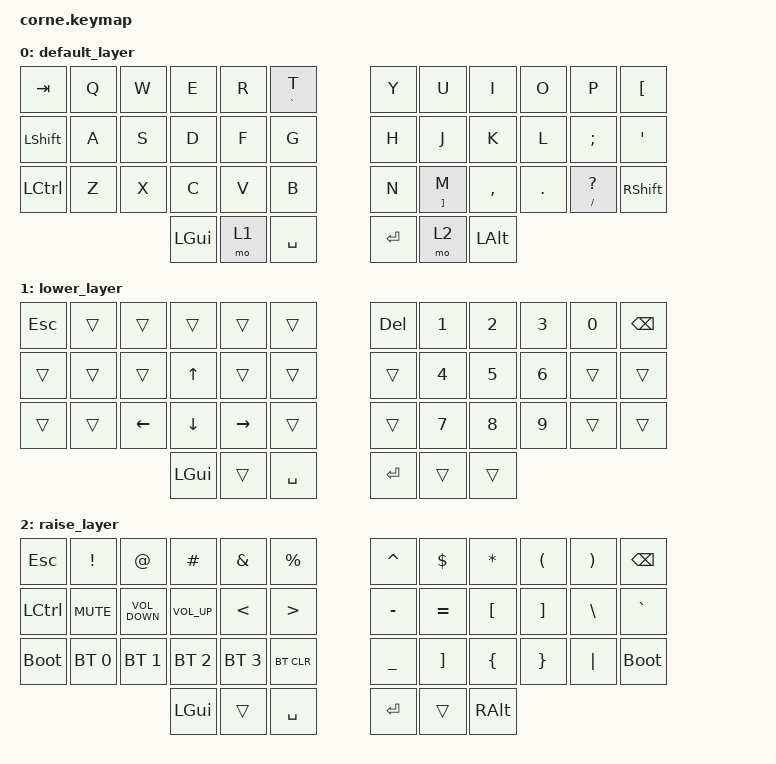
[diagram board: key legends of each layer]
/*
 * Copyright (c) 2020 The ZMK Contributors
 *
 * SPDX-License-Identifier: MIT
 */

#include <behaviors.dtsi>
#include <dt-bindings/zmk/bt.h>
#include <dt-bindings/zmk/keys.h>

/ {
    combos {
        compatible = "zmk,combos";

        Escape {
            bindings = <&kp ESC>;
            key-positions = <0 11>;
        };

        OpenParenthesis {
            bindings = <&kp LEFT_PARENTHESIS>;
            key-positions = <14 13>;
        };

        CloseParenthasis {
            bindings = <&kp RIGHT_PARENTHESIS>;
            key-positions = <21 22>;
        };

        Bckspc {
            bindings = <&kp BACKSPACE>;
            key-positions = <8 7>;
        };

        Delete {
            bindings = <&kp DELETE>;
            key-positions = <4 5>;
        };

        Enter {
            bindings = <&kp ENTER>;
            key-positions = <38 39>;
        };

        Backspace {
            bindings = <&kp BACKSPACE>;
            key-positions = <10 11>;
        };

        Escape2 {
            bindings = <&kp ESCAPE>;
            key-positions = <0 1>;
        };

        Backspace_ {
            bindings = <&kp BACKSPACE>;
            key-positions = <6 7>;
        };

        Dvoetochie {
            bindings = <&kp LS(NUMBER_6)>;
            key-positions = <2 3>;
        };

        CtrlC {
            bindings = <&kp LC(C)>;
            key-positions = <15 16>;
        };

        CtrlV {
            bindings = <&kp LC(V)>;
            key-positions = <19 20>;
        };

        Vstavka {
            bindings = <&kp LC(V)>;
            key-positions = <15 14>;
        };

        Delite {
            bindings = <&kp DELETE>;
            key-positions = <4 3>;
        };

        Question {
            bindings = <&kp LS(NUMBER_7)>;
            key-positions = <8 9>;
        };
    };

    keymap {
        compatible = "zmk,keymap";

        default_layer {
            // -----------------------------------------------------------------------------------------
            // |  TAB |  Q  |  W  |  E  |  R  |  T  |   |  Y  |  U   |  I  |  O  |  P  | BSPC |
            // | SHFT |  A  |  S  |  D  |  F  |  G  |   |  H  |  J   |  K  |  L  |  ;  | ENTR |
            // | CTRL |  Z  |  X  |  C  |  V  |  B  |   |  N  |  M   | ./, | '/" |  /* | EQU |
            //                    | GUI | LWR | SPC |   | SPC | L2   | L1  |

            bindings = <
&kp TAB         &kp Q  &kp W  &kp E         &kp R  &mt GRAVE T    &kp Y      &kp U                &kp I         &kp O       &kp P               &kp LEFT_BRACKET
&kp LEFT_SHIFT  &kp A  &kp S  &kp D         &kp F  &kp G          &kp H      &kp J                &kp K         &kp L       &kp SEMI            &kp SQT
&kp LCTRL       &kp Z  &kp X  &kp C         &kp V  &kp B          &kp N      &mt RIGHT_BRACKET M  &kp COMMA     &kp PERIOD  &mt SLASH QUESTION  &kp RIGHT_SHIFT
                              &kp LEFT_GUI  &mo 1  &kp SPACE      &kp ENTER  &mo 2                &kp LEFT_ALT
            >;
        };

        lower_layer {
            // -----------------------------------------------------------------------------------------
            // | SYSR |     |     |     |     |     |   |     |  1  |  2  |  3  |  0  |      |
            // |      |     |     | UP  |     |     |   |     |  4  |  5  |  6  |     |      |
            // |      |     | LFT | DWN | RGT |     |   |     |  7  |  8  |  9  |     |      |
            //                    |     |     | SPC |   | SPC |     |     |

            bindings = <
&kp ESCAPE  &trans  &trans    &trans        &trans     &trans       &kp DELETE  &kp NUMBER_1  &kp NUMBER_2  &kp NUMBER_3  &kp N0  &kp BACKSPACE
&trans      &trans  &trans    &kp UP        &trans     &trans       &trans      &kp NUMBER_4  &kp NUMBER_5  &kp NUMBER_6  &trans  &trans
&trans      &trans  &kp LEFT  &kp DOWN      &kp RIGHT  &trans       &trans      &kp NUMBER_7  &kp NUMBER_8  &kp NUMBER_9  &trans  &trans
                              &kp LEFT_GUI  &trans     &kp SPACE    &kp ENTER   &trans        &trans
            >;
        };

        raise_layer {
            // -----------------------------------------------------------------------------------------
            // |  TAB |  !  |  @  |  #  |  &  |  %  |   |  ^  |  $  |  *  |  (  |  )  | BSPC |
            // | CTRL |MUTE |V_UP |V_DWN|  <  |  >  |   |  -  |  =  |  [  |  ]  |  \  |  `   |
            // | SHFT |     |     |     |     |     |   |  _  |  +  |  {  |  }  | "|" |  ~   |
            //                    | GUI |     | SPC |   | SPC |     | ALT |

            bindings = <
&kp ESCAPE   &kp EXCL      &kp AT             &kp HASH         &kp AMPERSAND  &kp PRCNT           &kp CARET  &kp DOLLAR         &kp ASTRK  &kp LPAR  &kp RPAR  &kp BACKSPACE
&kp LCTRL    &kp C_MUTE    &kp C_VOLUME_DOWN  &kp C_VOLUME_UP  &kp LESS_THAN  &kp GREATER_THAN    &kp MINUS  &kp EQUAL          &kp LBKT   &kp RBKT  &kp BSLH  &kp GRAVE
&bootloader  &bt BT_SEL 0  &bt BT_SEL 1       &bt BT_SEL 2     &bt BT_SEL 3   &bt BT_CLR          &kp UNDER  &kp RIGHT_BRACKET  &kp LBRC   &kp RBRC  &kp PIPE  &bootloader
                                              &kp LGUI         &trans         &kp SPACE           &kp ENTER  &trans             &kp RALT
            >;
        };
    };
};

//For new Layers
// -----------------------------------------------------------------------------------------
// |      |     |     |     |     |     |   |     |     |     |     |     |      |
// |      |     |     |     |     |     |   |     |     |     |     |     |      |
// |      |     |     |     |     |     |   |     |     |     |     |     |      |
//                    |     |     |     |   |     |     |     |
